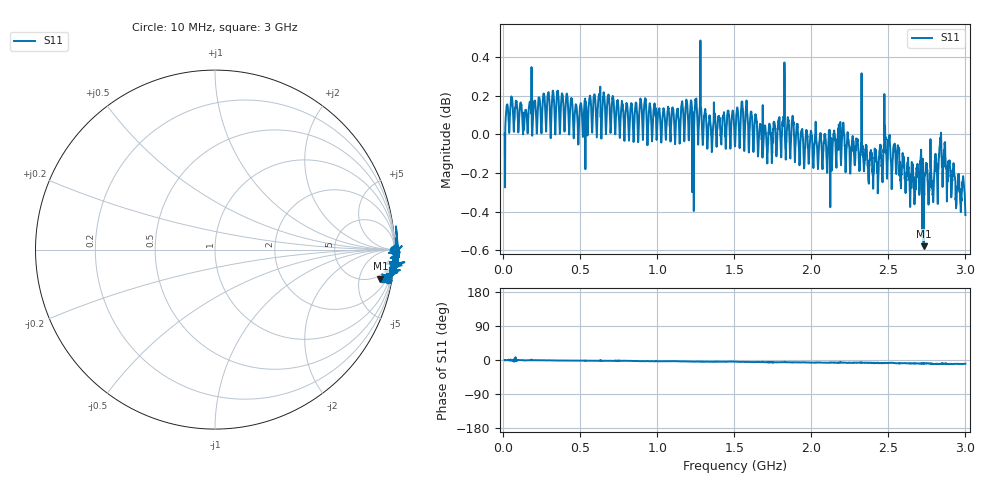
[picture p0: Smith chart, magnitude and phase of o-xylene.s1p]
# HZ S RI R 50
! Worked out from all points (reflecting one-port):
!   2020 points, 10 MHz to 3 GHz, reference 50 ohm
!   lowest |S11| = -0.6 dB at 2.729 GHz (marker M1), VSWR 30.02, Z = 194 - j501 ohm
!   phase of S11 starts at -0 deg and turns -10 deg over the sweep
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1e7  0.9998 -0.000964
5.887072e7  1.021 -0.0295
6.627538e7  1.01 -0.045
8.997027e7  1.018 -0.0225
9.737493e7  1.005 -0.0086
1.151461e8  1.019 -0.00415
1.403219e8  1.01 -0.0204
1.995592e8  1.018 -0.0119
3.846755e8  1.024 -0.0269
7.578702e8  0.9974 -0.0318
9.030014e8  1.007 -0.0502
1.132546e9  1.012 -0.059
1.236211e9  0.991 -0.0741
1.50574e9  0.9901 -0.0771
1.621253e9  0.9942 -0.0914
1.878935e9  1.005 -0.112
2.25361e9  0.9689 -0.1254
2.321733e9  0.9837 -0.1268
2.419475e9  0.9771 -0.139
2.489078e9  0.9727 -0.1384
2.515735e9  0.9772 -0.1238
2.557201e9  0.977 -0.1479
2.626805e9  0.9673 -0.1514
2.728989e9  0.9215 -0.1613
2.826731e9  0.9672 -0.1874
2.85783e9  0.9704 -0.169
2.903739e9  0.9596 -0.1742
3e9  0.9391 -0.1623
